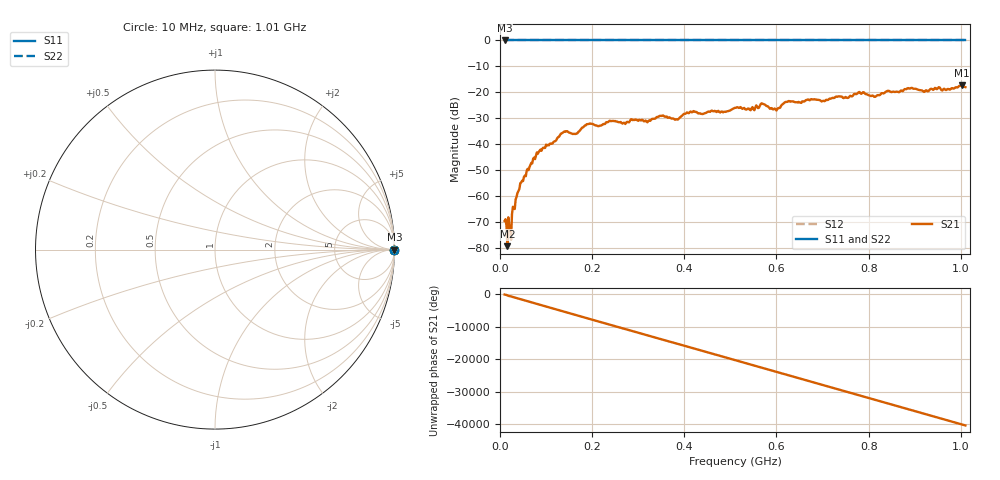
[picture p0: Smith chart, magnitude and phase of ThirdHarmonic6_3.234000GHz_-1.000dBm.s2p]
! 8/17/2025 9:54:37 AM
! C:\ANRITSUVNA\TEMP\TEMP.S2P
! CHANNEL.1
! TR.MEASUREMENT
! RAW.DATA
! RF.CORRECTION.OFF
! AVERAGING.OFF
! IF.BANDWIDTH: 5KHZ
! SWEEPTYPE:  FREQ.SWEEP(Linear)
! Reference Plane Port Info
! PORT:  PORT1  PORT2
! DISTANCE:  0  m  0  m
! TIME:  0  s  0  s
! PHASE.OFFSET:  0  deg.  0  deg.
! LOSS:  0  dB  0  dB
! REF.LOSS:  0  dB  0  dB
! REF.FREQ:  0  Hz  0  Hz
! Power Info
! POWER:  -20  dBm  -20  dBm
! EFF.POWER:  -20  dBm  -20  dBm
! SOURCE.ATTEN:  0  dB  0  dB
! TEST.ATTEN:  0  dB  0  dB
# GHZ S RI R 50.0
! FREQ.GHZ  S11RE  S11IM  S21RE  S21IM  S12RE  S12IM  S22RE  S22IM
!; PortSelection: Port_12
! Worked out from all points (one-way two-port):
!   501 points, 10 MHz to 1.01 GHz, reference 50 ohm
!   highest |S21| = -17.37 dB at 1.002 GHz (marker M1); lowest = -79.4 dB at 16 MHz (marker M2)
!   lowest |S11| = 0.0 dB at 10 MHz (marker M3)
!   |S11| at or under -10 dB: nowhere
!   |S22| runs from 0.0 to 0.0 dB; largest |S21 - S12| = 1.1
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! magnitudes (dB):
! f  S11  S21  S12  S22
! 10 MHz  0.0  -69.6  0.0  0.0
! 16 MHz  0.0  -79.4  0.0  0.0
! 20 MHz  0.0  -71.5  0.0  0.0
! 30 MHz  0.0  -64.6  0.0  0.0
! 44 MHz  0.0  -55.1  0.0  0.0
! 84 MHz  0.0  -43.1  0.0  0.0
! 136 MHz  0.0  -35.6  0.0  0.0
! 164 MHz  0.0  -36.1  0.0  0.0
! 178 MHz  0.0  -33.7  0.0  0.0
! 344 MHz  0.0  -29.5  0.0  0.0
! 384 MHz  0.0  -30.5  0.0  0.0
! 416 MHz  0.0  -27.8  0.0  0.0
! 510 MHz  0.0  -26.0  0.0  0.0
! 548 MHz  0.0  -25.7  0.0  0.0
! 570 MHz  0.0  -24.4  0.0  0.0
! 596 MHz  0.0  -26.3  0.0  0.0
! 624 MHz  0.0  -23.7  0.0  0.0
! 678 MHz  0.0  -22.8  0.0  0.0
! 814 MHz  0.0  -21.8  0.0  0.0
! 844 MHz  0.0  -19.5  0.0  0.0
! 1.002 GHz  0.0  -17.4  0.0  0.0
! 1.01 GHz  0.0  -18.0  0.0  0.0
